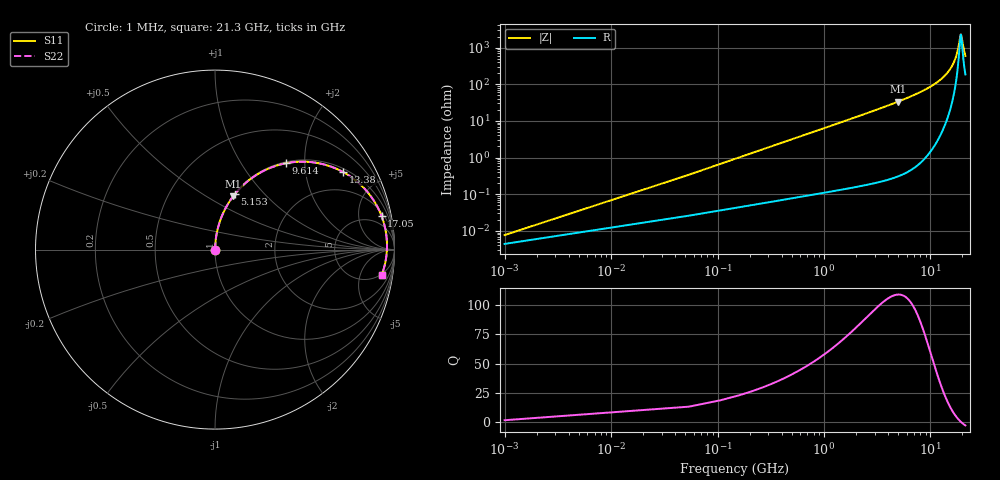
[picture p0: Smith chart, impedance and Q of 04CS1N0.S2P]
! Coilcraft 0402CS-1N0 Chip Inductor
! 29 May 2002
# MHZ S MA R 50
!Freq  MagS11  AngS11  MagS21  AngS21  MagS12  AngS12  MagS22  AngS22
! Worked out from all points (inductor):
!   403 points, 1 MHz to 21.3 GHz, reference 50 ohm
!   read as one part in series: L = 1 nH near 107.2 MHz
!   highest Q = 109 at 4.94 GHz (marker M1), where L = 1.07 nH
!   self-resonance near 19.32 GHz
!   S11 on the Smith chart (normalised r, x): 1 MHz: 1.00, +0.00; 5.153 GHz: 1.01, +0.70; 9.614 GHz: 1.02, +1.61; 13.38 GHz: 1.13, +3.23; 17.05 GHz: 2.62, +9.41; 21.3 GHz: 5, -11
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1  7.67e-05 55.0  1 -0.0  1 -0.0  7.67e-05 55.0
160.33  0.01008 86.9  0.9995 -0.6  0.9995 -0.6  0.01008 86.9
213.44  0.01341 87.1  0.9994 -0.8  0.9994 -0.8  0.01341 87.1
319.66  0.02008 87.1  0.9992 -1.2  0.9992 -1.2  0.02008 87.1
585.21  0.03676 86.6  0.9985 -2.1  0.9985 -2.1  0.03676 86.6
1010.09  0.06345 85.4  0.9969 -3.6  0.9969 -3.6  0.06345 85.4
1647.41  0.1036 83.3  0.9932 -5.9  0.9932 -5.9  0.1036 83.3
3559.37  0.2251 76.4  0.9721 -13.0  0.9721 -13.0  0.2251 76.4
4940.23  0.3144 71.2  0.9464 -18.3  0.9464 -18.3  0.3144 71.2
5152.67  0.3282 70.3  0.9416 -19.2  0.9416 -19.2  0.3282 70.3
7117.74  0.4577 62.2  0.8844 -27.2  0.8844 -27.2  0.4577 62.2
9613.91  0.6215 50.7  0.7738 -38.4  0.7738 -38.4  0.6215 50.7
10676.11  0.6881 45.4  0.7123 -43.5  0.7123 -43.5  0.6881 45.4
13384.72  0.8355 31.1  0.5166 -56.6  0.5166 -56.6  0.8355 31.1
14234.48  0.8717 26.4  0.4458 -60.5  0.4458 -60.5  0.8717 26.4
15774.67  0.9217 18.0  0.3111 -66.6  0.3111 -66.6  0.9217 18.0
17049.31  0.947 11.3  0.1984 -68.9  0.1984 -68.9  0.947 11.3
17792.85  0.955 7.5  0.1348 -66.8  0.1348 -66.8  0.955 7.5
19067.49  0.9586 1.2  0.04628 -25.8  0.04628 -25.8  0.9586 1.2
19333.04  0.9578 -0.0  0.04219 1.0  0.04219 1.0  0.9578 -0.0
20501.46  0.9494 -5.3  0.1033 58.0  0.1033 58.0  0.9494 -5.3
21300  0.9395 -8.7  0.1583 63.3  0.1583 63.3  0.9395 -8.7
